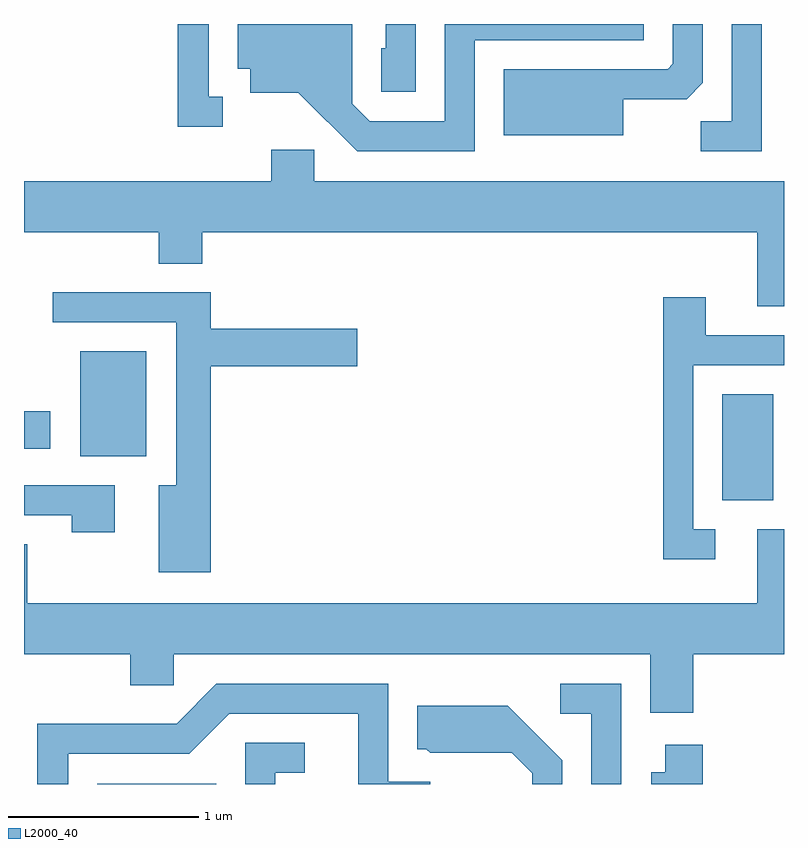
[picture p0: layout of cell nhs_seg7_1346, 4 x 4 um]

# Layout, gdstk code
import gdstk
lib = gdstk.Library(unit=1e-6, precision=1e-09)
def R(c, l, rs):  # rectangles x0, y0, x1, y1
    for r in rs: c.add(gdstk.rectangle(r[:2], r[2:], *l))
def P(c, l, *ps):  # polygons
    for p in ps: c.add(gdstk.Polygon(p, *l))
L2000_40 = (2000, 40)

nhs_seg7_1346 = lib.new_cell('nhs_seg7_1346')
R(nhs_seg7_1346, L2000_40, [(225.996,1760.252,226.624,1760.254), (229.286,1761.746,229.554,1762.304), (225.906,1761.976,226.254,1762.529), (225.611,1762.016,225.749,1762.214)])
P(nhs_seg7_1346, L2000_40, [(227.674,1764.252),(227.516,1764.252),(227.516,1764.124),(227.491,1764.124),(227.491,1763.896),(227.674,1763.896)],
  [(227.984,1764.166),(228.874,1764.166),(228.874,1764.252),(227.826,1764.252),(227.826,1763.739),(227.432,1763.739),(227.339,1763.832),(227.339,1764.252),(226.736,1764.252),(226.736,1764.016),(226.801,1764.016),(226.801,1763.891),(227.054,1763.891),(227.364,1763.581),(227.984,1763.581)],
  [(226.658,1763.869),(226.584,1763.869),(226.584,1764.252),(226.421,1764.252),(226.421,1763.711),(226.658,1763.711)],
  [(228.764,1763.856),(229.099,1763.856),(229.184,1763.942),(229.184,1764.252),(229.026,1764.252),(229.026,1764.042),(228.999,1764.014),(228.136,1764.014),(228.136,1763.666),(228.764,1763.666)],
  [(229.494,1764.252),(229.336,1764.252),(229.336,1763.739),(229.173,1763.739),(229.173,1763.581),(229.494,1763.581)],
  [(227.139,1763.589),(226.911,1763.589),(226.911,1763.424),(225.611,1763.424),(225.611,1763.156),(226.321,1763.156),(226.321,1762.991),(226.549,1762.991),(226.549,1763.156),(229.471,1763.156),(229.471,1762.766),(229.611,1762.766),(229.611,1763.424),(227.139,1763.424)],
  [(226.594,1762.451),(227.364,1762.451),(227.364,1762.649),(226.594,1762.649),(226.594,1762.839),(225.763,1762.839),(225.763,1762.681),(226.411,1762.681),(226.411,1761.824),(226.321,1761.824),(226.321,1761.366),(226.594,1761.366)],
  [(229.248,1761.594),(229.134,1761.594),(229.134,1762.456),(229.611,1762.456),(229.611,1762.614),(229.199,1762.614),(229.199,1762.814),(228.976,1762.814),(228.976,1761.436),(229.248,1761.436)],
  [(226.089,1761.824),(225.611,1761.824),(225.611,1761.666),(225.861,1761.666),(225.861,1761.576),(226.089,1761.576)],
  [(229.134,1760.936),(229.611,1760.936),(229.611,1761.594),(229.471,1761.594),(229.471,1761.204),(225.629,1761.204),(225.629,1761.514),(225.611,1761.514),(225.611,1760.936),(226.171,1760.936),(226.171,1760.771),(226.399,1760.771),(226.399,1760.936),(228.906,1760.936),(228.906,1760.626),(229.134,1760.626)],
  [(228.754,1760.779),(228.433,1760.779),(228.433,1760.621),(228.596,1760.621),(228.596,1760.252),(228.754,1760.252)],
  [(225.844,1760.411),(226.482,1760.411),(226.692,1760.621),(227.371,1760.621),(227.371,1760.252),(227.749,1760.252),(227.749,1760.264),(227.529,1760.264),(227.529,1760.779),(226.624,1760.779),(226.414,1760.569),(225.681,1760.569),(225.681,1760.252),(225.844,1760.252)],
  [(228.444,1760.377),(228.157,1760.664),(227.681,1760.664),(227.681,1760.436),(227.729,1760.436),(227.749,1760.416),(228.179,1760.416),(228.286,1760.309),(228.286,1760.252),(228.444,1760.252)],
  [(226.934,1760.311),(227.088,1760.311),(227.088,1760.469),(226.776,1760.469),(226.776,1760.252),(226.934,1760.252)],
  [(229.184,1760.459),(228.986,1760.459),(228.986,1760.314),(228.911,1760.314),(228.911,1760.252),(229.184,1760.252)])

lib.write_gds('nhs_seg7_1346.gds')
